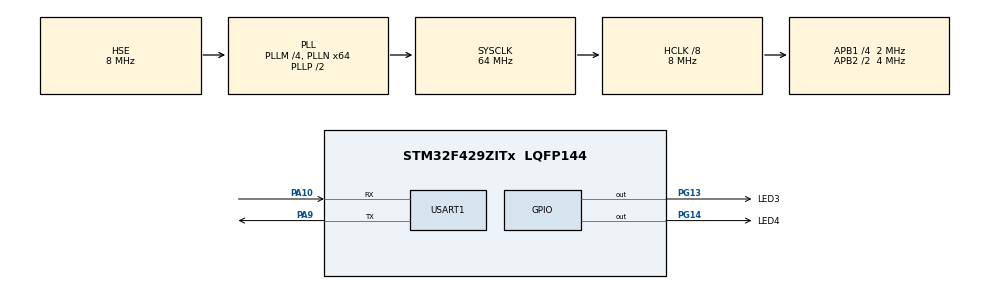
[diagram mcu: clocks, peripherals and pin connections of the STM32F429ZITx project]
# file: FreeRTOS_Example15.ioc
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FREERTOS.Tasks01=defaultTask,0,128,StartDefaultTask,Default,NULL,Dynamic,NULL,NULL
Mcu.Family=STM32F4
Mcu.Name=STM32F429ZITx
Mcu.Package=LQFP144
NVIC.PriorityGroup=NVIC_PRIORITYGROUP_4
NVIC.TIM6_DAC_IRQn=true\:0\:0\:false\:false\:true\:false\:false\:true
NVIC.TimeBase=TIM6_DAC_IRQn
NVIC.TimeBaseIP=TIM6
PA10.Mode=Asynchronous
PA10.Signal=USART1_RX
PA13.Mode=Trace_Asynchronous_SW
PA13.Signal=SYS_JTMS-SWDIO
PA14.Mode=Trace_Asynchronous_SW
PA14.Signal=SYS_JTCK-SWCLK
PA9.Mode=Asynchronous
PA9.Signal=USART1_TX
PB3.Mode=Trace_Asynchronous_SW
PB3.Signal=SYS_JTDO-SWO
PG13.GPIO_Label=LED3
PG13.Signal=GPIO_Output
PG14.GPIO_Label=LED4
PG14.Signal=GPIO_Output
PH0/OSC_IN.Mode=HSE-External-Oscillator
PH0/OSC_IN.Signal=RCC_OSC_IN
PH1/OSC_OUT.Mode=HSE-External-Oscillator
PH1/OSC_OUT.Signal=RCC_OSC_OUT
ProjectManager.HeapSize=0x200
ProjectManager.StackSize=0x400
ProjectManager.TargetToolchain=TrueSTUDIO
RCC.48MHZClocksFreq_Value=32000000
RCC.AHBCLKDivider=RCC_SYSCLK_DIV8
RCC.AHBFreq_Value=8000000
RCC.APB1CLKDivider=RCC_HCLK_DIV4
RCC.APB1Freq_Value=2000000
RCC.APB1TimFreq_Value=4000000
RCC.APB2CLKDivider=RCC_HCLK_DIV2
RCC.APB2Freq_Value=4000000
RCC.APB2TimFreq_Value=8000000
RCC.CortexFreq_Value=8000000
RCC.HCLKFreq_Value=8000000
RCC.HSE_VALUE=8000000
RCC.HSI_VALUE=16000000
RCC.LSE_VALUE=32768
RCC.PLLM=4
RCC.PLLN=64
RCC.PLLSourceVirtual=RCC_PLLSOURCE_HSE
RCC.SYSCLKFreq_VALUE=64000000
RCC.SYSCLKSource=RCC_SYSCLKSOURCE_PLLCLK
RCC.VCOOutputFreq_Value=128000000
USART1.VirtualMode=VM_ASYNC
VP_FREERTOS_VS_CMSIS_V1.Mode=CMSIS_V1
VP_SYS_VS_tim6.Mode=TIM6
board=custom

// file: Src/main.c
/* USER CODE BEGIN Header */
/**
  ******************************************************************************
  * @file           : main.c
  * @brief          : Main program body
  ******************************************************************************
  * @attention
  *
  * <h2><center>&copy; Copyright (c) 2019 STMicroelectronics.
  * All rights reserved.</center></h2>
  *
  * This software component is licensed by ST under Ultimate Liberty license
  * SLA0044, the "License"; You may not use this file except in compliance with
  * the License. You may obtain a copy of the License at:
  *                             www.st.com/SLA0044
  *
  ******************************************************************************
  */
/* USER CODE END Header */

#include "main.h"
#include "cmsis_os.h"

/* USER CODE BEGIN PD */
//#define mainDELAY_LOOP_COUNT    (800)

/* USER CODE END PD */

osThreadId defaultTaskHandle;

void SystemClock_Config(void);
static void MX_GPIO_Init(void);
static void MX_USART1_UART_Init(void);
void StartDefaultTask(void const * argument);

/* USER CODE BEGIN 0 */
xSemaphoreHandle xMutex;

void vPrintString(char *pStr);
void prvPrintTask(void *pvParameters);

//void vTask1(void* pvParameters);
//void vTask2(void* pvParameters);

/* USER CODE END 0 */

int main(void)
{

  /* MCU Configuration--------------------------------------------------------*/

  /* Reset of all peripherals, Initializes the Flash interface and the Systick. */
  HAL_Init();

  /* Configure the system clock */
  SystemClock_Config();

  /* Initialize all configured peripherals */
  MX_GPIO_Init();
  MX_USART1_UART_Init();

  /* USER CODE BEGIN RTOS_MUTEX */
  /* add mutexes, ... */
  xMutex = xSemaphoreCreateMutex();
  /* USER CODE END RTOS_MUTEX */

  /* Create the thread(s) */
  /* definition and creation of defaultTask */
  osThreadDef(defaultTask, StartDefaultTask, osPriorityNormal, 0, 128);
  defaultTaskHandle = osThreadCreate(osThread(defaultTask), NULL);

  /* USER CODE BEGIN RTOS_THREADS */
  /* add threads, ... */
  xTaskCreate(prvPrintTask, "PrinTask1", 1000, "Task 1 ******************** \r\n", 1, NULL);	// Priority "1"
  xTaskCreate(prvPrintTask, "PrinTask2", 1000, "Task 2 ==================== \r\n", 1, NULL);	// Priority "1"

  /* USER CODE END RTOS_THREADS */

  /* Start scheduler */
  osKernelStart();

  /* We should never get here as control is now taken by the scheduler */

  /* Infinite loop */
  while (1)
  {

  }
}

void SystemClock_Config(void)
{
  RCC_OscInitTypeDef RCC_OscInitStruct = {0};
  RCC_ClkInitTypeDef RCC_ClkInitStruct = {0};

  /** Configure the main internal regulator output voltage
  */
  __HAL_RCC_PWR_CLK_ENABLE();
  __HAL_PWR_VOLTAGESCALING_CONFIG(PWR_REGULATOR_VOLTAGE_SCALE3);
  /** Initializes the CPU, AHB and APB busses clocks
  */
  RCC_OscInitStruct.OscillatorType = RCC_OSCILLATORTYPE_HSE;
  RCC_OscInitStruct.HSEState = RCC_HSE_ON;
  RCC_OscInitStruct.PLL.PLLState = RCC_PLL_ON;
  RCC_OscInitStruct.PLL.PLLSource = RCC_PLLSOURCE_HSE;
  RCC_OscInitStruct.PLL.PLLM = 4;
  RCC_OscInitStruct.PLL.PLLN = 64;
  RCC_OscInitStruct.PLL.PLLP = RCC_PLLP_DIV2;
  RCC_OscInitStruct.PLL.PLLQ = 4;
  if (HAL_RCC_OscConfig(&RCC_OscInitStruct) != HAL_OK)
  {
    Error_Handler();
  }
  /** Initializes the CPU, AHB and APB busses clocks
  */
  RCC_ClkInitStruct.ClockType = RCC_CLOCKTYPE_HCLK|RCC_CLOCKTYPE_SYSCLK
                              |RCC_CLOCKTYPE_PCLK1|RCC_CLOCKTYPE_PCLK2;
  RCC_ClkInitStruct.SYSCLKSource = RCC_SYSCLKSOURCE_PLLCLK;
  RCC_ClkInitStruct.AHBCLKDivider = RCC_SYSCLK_DIV8;
  RCC_ClkInitStruct.APB1CLKDivider = RCC_HCLK_DIV4;
  RCC_ClkInitStruct.APB2CLKDivider = RCC_HCLK_DIV2;

  if (HAL_RCC_ClockConfig(&RCC_ClkInitStruct, FLASH_LATENCY_0) != HAL_OK)
  {
    Error_Handler();
  }
}

static void MX_USART1_UART_Init(void)
{

  LL_USART_InitTypeDef USART_InitStruct = {0};

  LL_GPIO_InitTypeDef GPIO_InitStruct = {0};

  /* Peripheral clock enable */
  LL_APB2_GRP1_EnableClock(LL_APB2_GRP1_PERIPH_USART1);

  LL_AHB1_GRP1_EnableClock(LL_AHB1_GRP1_PERIPH_GPIOA);
  /**USART1 GPIO Configuration
  PA9   ------> USART1_TX
  PA10   ------> USART1_RX
  */
  GPIO_InitStruct.Pin = LL_GPIO_PIN_9|LL_GPIO_PIN_10;
  GPIO_InitStruct.Mode = LL_GPIO_MODE_ALTERNATE;
  GPIO_InitStruct.Speed = LL_GPIO_SPEED_FREQ_VERY_HIGH;
  GPIO_InitStruct.OutputType = LL_GPIO_OUTPUT_PUSHPULL;
  GPIO_InitStruct.Pull = LL_GPIO_PULL_UP;
  GPIO_InitStruct.Alternate = LL_GPIO_AF_7;
  LL_GPIO_Init(GPIOA, &GPIO_InitStruct);

  USART_InitStruct.BaudRate = 115200;
  USART_InitStruct.DataWidth = LL_USART_DATAWIDTH_8B;
  USART_InitStruct.StopBits = LL_USART_STOPBITS_1;
  USART_InitStruct.Parity = LL_USART_PARITY_NONE;
  USART_InitStruct.TransferDirection = LL_USART_DIRECTION_TX_RX;
  USART_InitStruct.HardwareFlowControl = LL_USART_HWCONTROL_NONE;
  USART_InitStruct.OverSampling = LL_USART_OVERSAMPLING_16;
  LL_USART_Init(USART1, &USART_InitStruct);
  LL_USART_ConfigAsyncMode(USART1);
  LL_USART_Enable(USART1);

}

static void MX_GPIO_Init(void)
{
  GPIO_InitTypeDef GPIO_InitStruct = {0};

  /* GPIO Ports Clock Enable */
  __HAL_RCC_GPIOH_CLK_ENABLE();
  __HAL_RCC_GPIOA_CLK_ENABLE();
  __HAL_RCC_GPIOG_CLK_ENABLE();
  __HAL_RCC_GPIOB_CLK_ENABLE();

  /*Configure GPIO pin Output Level */
  HAL_GPIO_WritePin(GPIOG, LED3_Pin|LED4_Pin, GPIO_PIN_RESET);

  /*Configure GPIO pins : LED3_Pin LED4_Pin */
  GPIO_InitStruct.Pin = LED3_Pin|LED4_Pin;
  GPIO_InitStruct.Mode = GPIO_MODE_OUTPUT_PP;
  GPIO_InitStruct.Pull = GPIO_NOPULL;
  GPIO_InitStruct.Speed = GPIO_SPEED_FREQ_LOW;
  HAL_GPIO_Init(GPIOG, &GPIO_InitStruct);

}

/* USER CODE BEGIN 4 */
void vPrintString(char *pStr)
{

		xSemaphoreTake(xMutex, 10);
    while(*pStr){
        while(!LL_USART_IsActiveFlag_TXE(USART1));
        LL_USART_TransmitData8(USART1, *pStr);
        pStr++;
    }
    xSemaphoreGive(xMutex);

}

void prvPrintTask(void *pvParameters)
{
	char *pcStringToPrint = (char *)pvParameters;

	for(;;)
	{
		vPrintString(pcStringToPrint);

		vTaskDelay(1);
	}
}

/* USER CODE END 4 */

void StartDefaultTask(void const * argument)
{

  for(;;)
  {
    osDelay(1);
  }
}

void HAL_TIM_PeriodElapsedCallback(TIM_HandleTypeDef *htim)
{
  if (htim->Instance == TIM6) {
    HAL_IncTick();
  }
}

void Error_Handler(void)
{
}

/************************ (C) COPYRIGHT STMicroelectronics *****END OF FILE****/
